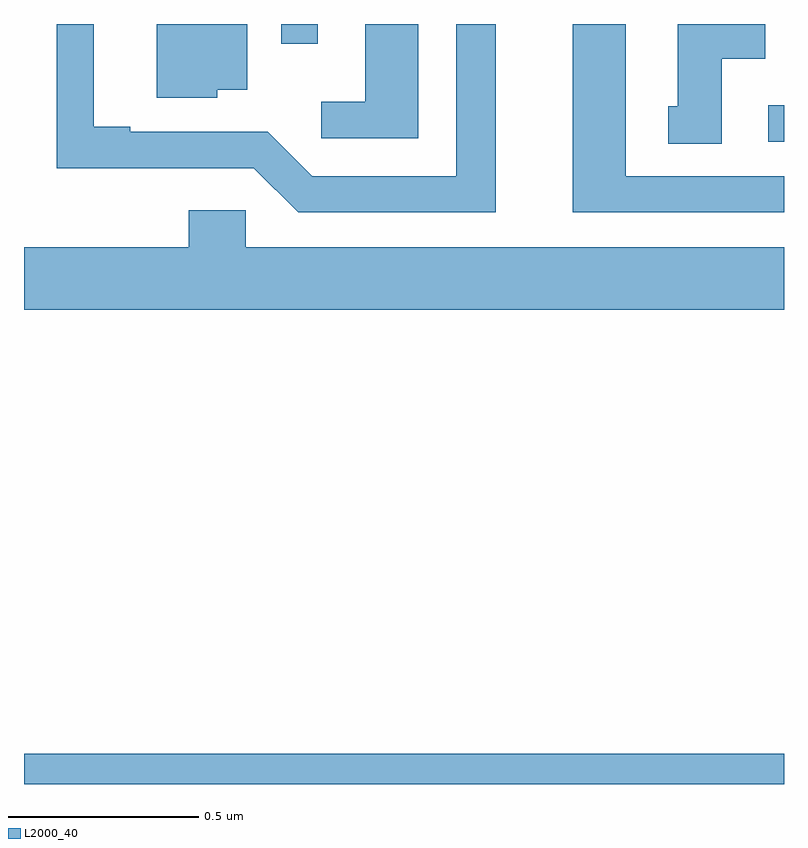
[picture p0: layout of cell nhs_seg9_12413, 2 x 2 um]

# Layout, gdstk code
import gdstk
lib = gdstk.Library(unit=1e-6, precision=1e-09)
def R(c, l, rs):  # rectangles x0, y0, x1, y1
    for r in rs: c.add(gdstk.rectangle(r[:2], r[2:], *l))
def P(c, l, *ps):  # polygons
    for p in ps: c.add(gdstk.Polygon(p, *l))
L2000_40 = (2000, 40)

nhs_seg9_12413 = lib.new_cell('nhs_seg9_12413')
R(nhs_seg9_12413, L2000_40, [(268,1200.5,270,1200.58), (269.958,1202.19,270,1202.286), (268.677,1202.448,268.773,1202.5)])
P(nhs_seg9_12413, L2000_40, [(269.242,1202.5),(269.138,1202.5),(269.138,1202.1),(268.758,1202.1),(268.641,1202.217),(268.279,1202.217),(268.279,1202.23),(268.183,1202.23),(268.183,1202.5),(268.086,1202.5),(268.086,1202.12),(268.349,1202.12),(268.349,1202.121),(268.605,1202.121),(268.722,1202.004),(269.242,1202.004)],
  [(269.836,1202.408),(269.95,1202.408),(269.95,1202.5),(269.72,1202.5),(269.72,1202.283),(269.696,1202.283),(269.696,1202.185),(269.836,1202.185)],
  [(270,1202.1),(269.584,1202.1),(269.584,1202.5),(269.444,1202.5),(269.444,1202.004),(270,1202.004)],
  [(269.038,1202.5),(268.898,1202.5),(268.898,1202.296),(268.782,1202.296),(268.782,1202.199),(269.038,1202.199)],
  [(268.509,1202.327),(268.588,1202.327),(268.588,1202.5),(268.349,1202.5),(268.349,1202.306),(268.509,1202.306)],
  [(270,1201.912),(268.584,1201.912),(268.584,1202.01),(268.433,1202.01),(268.433,1201.912),(268,1201.912),(268,1201.748),(270,1201.748)])

lib.write_gds('nhs_seg9_12413.gds')
